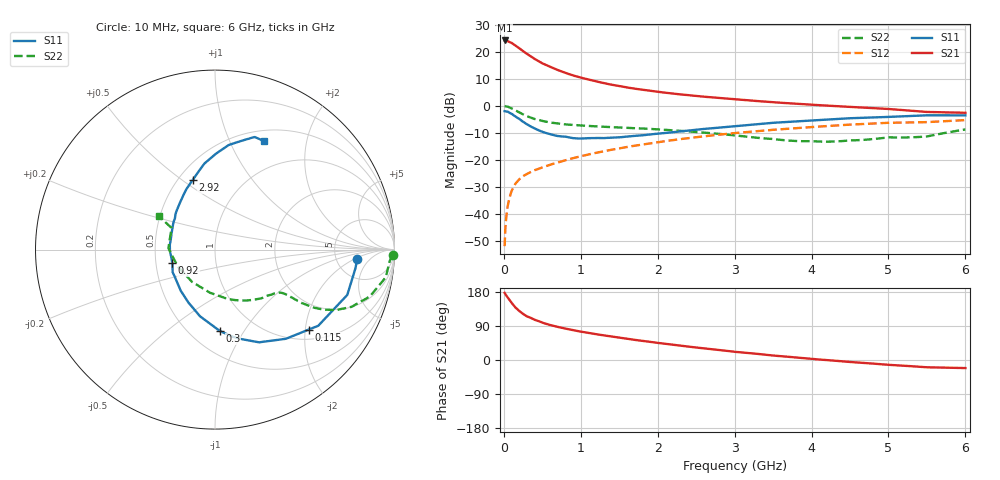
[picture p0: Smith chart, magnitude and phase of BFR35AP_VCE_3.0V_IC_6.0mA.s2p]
! Infineon Technologies  Discrete & RF Semiconductors
! BFR35AP
! VCE =  3.0 V,  IC =  6.0 mA
! Common Emitter S-Parameters:  Nov 2015
# GHz  S  MA  R  50
!  f  S11  S21  S12  S22
! GHz  MAG  ANG  MAG  ANG  MAG  ANG  MAG  ANG
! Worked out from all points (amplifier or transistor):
!   210 points, 10 MHz to 6 GHz, reference 50 ohm
!   highest |S21| = 24.2 dB at 10 MHz (marker M1)
!   |S21| within 3 dB of that: start of sweep to 205.2 MHz
!   unconditionally stable (mu >= 1): 727.3 MHz to 3.491 GHz
!   at 185 MHz: K = 0.42, MSG = 24.7 dB, |S12| = -27.7 dB
!   at 1.52 GHz: K = 1.13, MAG = 9.3 dB, |S12| = -15.7 dB
!   at 6 GHz: K = 0.96, MSG = 1.4 dB, |S12| = -5.3 dB
!   S11 on the Smith chart (normalised r, x): 10 MHz: 8.01, -2.34; 115 MHz: 1.24, -2.09; 300 MHz: 0.69, -0.79; 920 MHz: 0.61, -0.10; 2.92 GHz: 0.59, +0.55; 6 GHz: 0.63, +1.35
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0.01  0.794 -3.9  16.22 177.0  0.0025 89.2  0.9899 -1.7
0.02  0.7892 -7.7  16.21 173.5  0.0054 85.2  0.9758 -3.7
0.05  0.7791 -18.9  15.78 164.7  0.0138 81.6  0.964 -9.2
0.1  0.7149 -36.4  14.66 151.0  0.0261 71.1  0.901 -16.9
0.115  0.6861 -40.5  14.13 147.6  0.029 69.2  0.877 -18.6
0.15  0.6349 -51.5  13.12 138.6  0.0359 65.9  0.8242 -22.8
0.2  0.5719 -64.6  11.63 129.4  0.0433 62.1  0.7548 -26.5
0.24  0.5169 -74.2  10.55 123.1  0.0483 59.6  0.7041 -28.4
0.3  0.454 -86.6  9.162 115.1  0.0545 58.2  0.6394 -30.4
0.4  0.3807 -102.7  7.394 106.2  0.0638 57.0  0.5689 -31.6
0.5  0.3296 -116.8  6.113 98.4  0.072 57.0  0.5225 -31.9
0.6  0.2986 -129.6  5.262 92.4  0.0806 57.6  0.4904 -32.0
0.7  0.2751 -141.2  4.597 87.2  0.0889 58.2  0.4683 -32.2
0.92  0.2498 -162.3  3.576 78.0  0.1087 58.8  0.4383 -33.2
1.02  0.2475 -171.3  3.268 74.3  0.1178 59.0  0.4296 -34.0
1.4  0.2566 162.1  2.455 61.9  0.1529 58.3  0.4024 -38.5
2.02  0.3053 134.2  1.801 44.7  0.2134 54.3  0.3641 -49.1
2.92  0.4073 107.9  1.349 23.6  0.3034 45.3  0.2907 -72.7
3.1  0.4294 104.1  1.286 19.9  0.3204 43.0  0.2731 -79.2
4.1  0.5438 88.0  1.026 1.3  0.4118 30.6  0.2171 -131.5
5.1  0.6295 75.4  0.85 -13.9  0.4856 16.6  0.258 173.2
6  0.6636 65.6  0.741 -21.3  0.5422 6.3  0.3639 149.1
